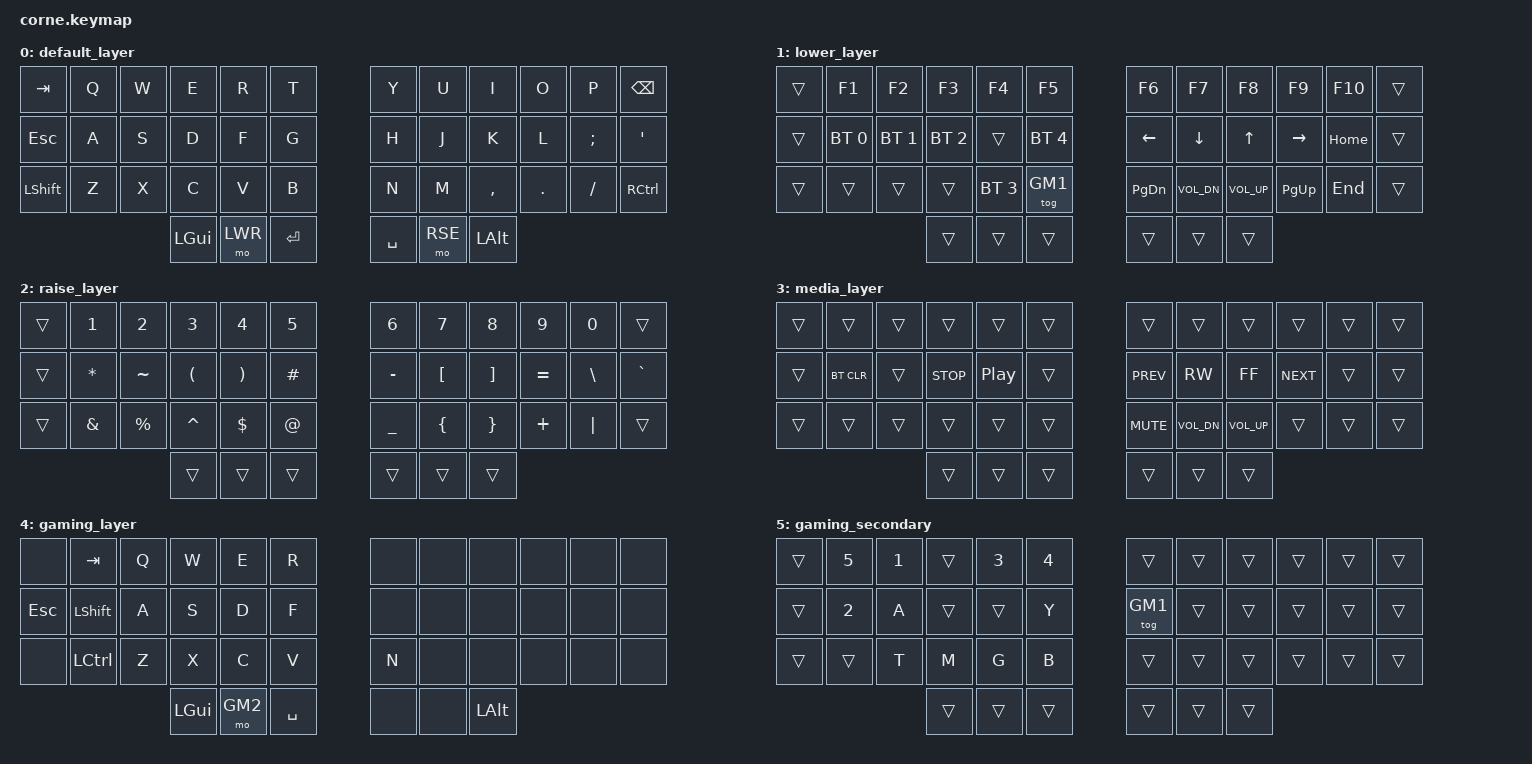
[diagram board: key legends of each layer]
/*
 * Copyright (c) 2020 The ZMK Contributors
 *
 * SPDX-License-Identifier: MIT
 */

#include <behaviors.dtsi>
#include <dt-bindings/zmk/bt.h>
#include <dt-bindings/zmk/keys.h>

#define DEF 0
#define LWR 1
#define RSE 2
#define MED 3
#define GM1 4
#define GM2 5

/ {
    // define multi-key combos
    combos {
        compatible = "zmk,combos";

        left_ctrl {
            bindings = <&kp LEFT_CONTROL>;
            key-positions = <16 37>;
            layers = <0>;
        };
    };

    // multi-key layer activation
    conditional_layers {
        compatible = "zmk,conditional-layers";

        tri_layer {
            if-layers = <1 2>;
            then-layer = <3>;
        };
    };

    // keymap layer definitions
    keymap {
        compatible = "zmk,keymap";

        default_layer {
// | ------------------------------------------------------------------------------------------------------------------------------------------------------------|
// | DEFAULT LAYER - #0                                                                                                                                          |
// |----------+-------------+-------------+-------------+-------------+-------------+--+-----------+-------------+-------------+-----------+---------+-----------|
// | TAB      | Q           | W           | E           | R           | T           |  | Y         | U           | I           | O         | P       | BKSP      |
// | ESC      | A           | S           | D           | F           | G           |  | H         | J           | K           | L         | ;       | '         |
// | SHIFT    | Z           | X           | C           | V           | B           |  | N         | M           | ,           | .         | /       | CTRL      |
// |          |             |             | GUI         | LOWER       | RETURN      |  | SPACE     | RAISE       | ALT         |           |         |           |
// |----------+-------------+-------------+-------------+-------------+-------------+--+-----------+-------------+-------------+-----------+---------+-----------|
            bindings = <
    &kp TAB    &kp Q         &kp W         &kp E         &kp R         &kp T            &kp Y       &kp U         &kp I         &kp O       &kp P     &kp BSPC
    &kp ESC    &kp A         &kp S         &kp D         &kp F         &kp G            &kp H       &kp J         &kp K         &kp L       &kp SEMI  &kp SQT
    &kp LSHFT  &kp Z         &kp X         &kp C         &kp V         &kp B            &kp N       &kp M         &kp COMMA     &kp DOT     &kp FSLH  &kp RCTRL
                                           &kp LGUI      &mo LWR       &kp RET          &kp SPACE   &mo RSE       &kp LALT
            >;
        };

        lower_layer {
// | ------------------------------------------------------------------------------------------------------------------------------------------------------------|
// | LOWER LAYER - #1                                                                                                                                            |
// |----------+-------------+-------------+-------------+-------------+-------------+--+-----------+-------------+-------------+-----------+---------+-----------|
// |          | F1          | F2          | F3          | F4          | F5          |  | F6        | F7          | F8          | F9        | F10     |           |
// |          | BLU 1       | BLU 2       | BLU 3       |             | BLU 5       |  | LEFT      | DOWN        | UP          | RIGHT     | HOME    |           |
// |          |             |             |             | BLU 4       | TOG 3       |  | PAGE DOWN | VOL DOWN    | VOL UP      | PAGE UP   | END     |           |
// |          |             |             |             |             |             |  |           |             |             |           |         |           |
// |----------+-------------+-------------+-------------+-------------+-------------+--+-----------+-------------+-------------+-----------+---------+-----------|
            bindings = <
    &trans     &kp F1        &kp F2        &kp F3        &kp F4        &kp F5           &kp F6      &kp F7        &kp F8        &kp F9      &kp F10   &trans
    &trans     &bt BT_SEL 0  &bt BT_SEL 1  &bt BT_SEL 2  &trans        &bt BT_SEL 4     &kp LEFT    &kp DOWN      &kp UP        &kp RIGHT   &kp HOME  &trans
    &trans     &trans        &trans        &trans        &bt BT_SEL 3  &tog GM1         &kp PG_DN   &kp K_VOL_DN  &kp K_VOL_UP  &kp PG_UP   &kp END   &trans
                                           &trans        &trans        &trans           &trans      &trans        &trans
            >;
        };

        raise_layer {
// | ------------------------------------------------------------------------------------------------------------------------------------------------------------|
// | RAISE LAYER - #2                                                                                                                                            |
// |----------+-------------+-------------+-------------+-------------+-------------+--+-----------+-------------+-------------+-----------+---------+-----------|
// |          | 1           | 2           | 3           | 4           | 5           |  | 6         | 7           | 8           | 9         | 0       |           |
// |          | *           | ~           | (           | )           | #           |  | - / _     | [ / {       | ] / }       | = / +     | \ / \|  | ` / ~     |
// |          | &           | %           | ^           | $           | @           |  | _         | {           | }           | +         |         |           |
// |          |             |             |             |             |             |  |           |             |             |           |         |           |
// |----------+-------------+-------------+-------------+-------------+-------------+--+-----------+-------------+-------------+-----------+---------+-----------|
            bindings = <
    &trans     &kp N1        &kp N2        &kp N3        &kp N4        &kp N5           &kp N6      &kp N7        &kp N8        &kp N9      &kp N0    &trans
    &trans     &kp STAR      &kp TILDE     &kp LPAR      &kp RPAR      &kp HASH         &kp MINUS   &kp LBKT      &kp RBKT      &kp EQUAL   &kp BSLH  &kp GRAVE
    &trans     &kp AMPS      &kp PRCNT     &kp CARET     &kp DOLLAR    &kp AT           &kp UNDER   &kp LBRC      &kp RBRC      &kp PLUS    &kp PIPE  &trans
                                           &trans        &trans        &trans           &trans      &trans        &trans
            >;
        };

        media_layer {
// | ------------------------------------------------------------------------------------------------------------------------------------------------------------|
// | MEDIA CONTROL LAYER - #3                                                                                                                                    |
// |----------+-------------+-------------+-------------+-------------+-------------+--+-----------+-------------+-------------+-----------+---------+-----------|
// |          |             |             |             |             |             |  |           |             |             |           |         |           |
// |          | BLU CLEAR   |             | STOP        | PLAY-PAUSE  |             |  | PREV      | REWIND      | FAST-FWD    | NEXT      |         |           |
// |          |             |             |             |             |             |  | MUTE      | VOL DOWN    | VOL UP      |           |         |           |
// |          |             |             |             |             |             |  |           |             |             |           |         |           |
// |----------+-------------+-------------+-------------+-------------+-------------+--+-----------+-------------+-------------+-----------+---------+-----------|
            bindings = <
    &trans     &trans        &trans        &trans        &trans        &trans           &trans      &trans        &trans        &trans      &trans    &trans
    &trans     &bt BT_CLR    &trans        &kp C_STOP    &kp C_PP      &trans           &kp C_PREV  &kp C_RW      &kp C_FF      &kp C_NEXT  &trans    &trans
    &trans     &trans        &trans        &trans        &trans        &trans           &kp C_MUTE  &kp C_VOL_DN  &kp C_VOL_UP  &trans      &trans    &trans
                                           &trans        &trans        &trans           &trans      &trans        &trans
            >;
        };

        gaming_layer {
// | ------------------------------------------------------------------------------------------------------------------------------------------------------------|
// | GAMING PRIMARY LAYER - #3                                                                                                                                   |
// |----------+-------------+-------------+-------------+-------------+-------------+--+-----------+-------------+-------------+-----------+---------+-----------|
// |          | TAB         | Q           | W           | E           | R           |  |           |             |             |           |         |           |
// | ESC      | SHIFT       | A           | S           | D           | F           |  |           |             |             |           |         |           |
// |          | CTRL        | Z           | X           | C           | V           |  | N         |             |             |           |         |           |
// |          |             |             | GUI         | MO GAME2    | SPACE       |  |           |             | ALT         |           |         |           |
// |----------+-------------+-------------+-------------+-------------+-------------+--+-----------+-------------+-------------+-----------+---------+-----------|
            bindings = <
    &none      &kp TAB       &kp Q         &kp W         &kp E         &kp R            &none       &none         &none         &none       &none     &none
    &kp ESC    &kp LSHFT     &kp A         &kp S         &kp D         &kp F            &none       &none         &none         &none       &none     &none
    &none      &kp LCTRL     &kp Z         &kp X         &kp C         &kp V            &kp N       &none         &none         &none       &none     &none
                                           &kp LGUI      &mo GM2       &kp SPACE        &none       &none         &kp LALT
            >;
        };

        gaming_secondary {
// | ------------------------------------------------------------------------------------------------------------------------------------------------------------|
// | GAMING SECONDARY LAYER - #3                                                                                                                                 |
// |----------+-------------+-------------+-------------+-------------+-------------+--+-----------+-------------+-------------+-----------+---------+-----------|
// |          | 5           | 1           |             | 3           | 4           |  |           |             |             |           |         |           |
// |          | 2           |             |             |             | Y           |  | TOG GAME1 |             |             |           |         |           |
// |          |             | T           | M           | G           | B           |  |           |             |             |           |         |           |
// |          |             |             |             |             |             |  |           |             |             |           |         |           |
// |----------+-------------+-------------+-------------+-------------+-------------+--+-----------+-------------+-------------+-----------+---------+-----------|
            bindings = <
    &trans     &kp N5        &kp N1        &trans        &kp N3        &kp N4           &trans      &trans        &trans        &trans      &trans    &trans
    &trans     &kp N2        &kp A         &trans        &trans        &kp Y            &tog GM1    &trans        &trans        &trans      &trans    &trans
    &trans     &trans        &kp T         &kp M         &kp G         &kp B            &trans      &trans        &trans        &trans      &trans    &trans
                                           &trans        &trans        &trans           &trans      &trans        &trans    
            >;
        };
    };
};

